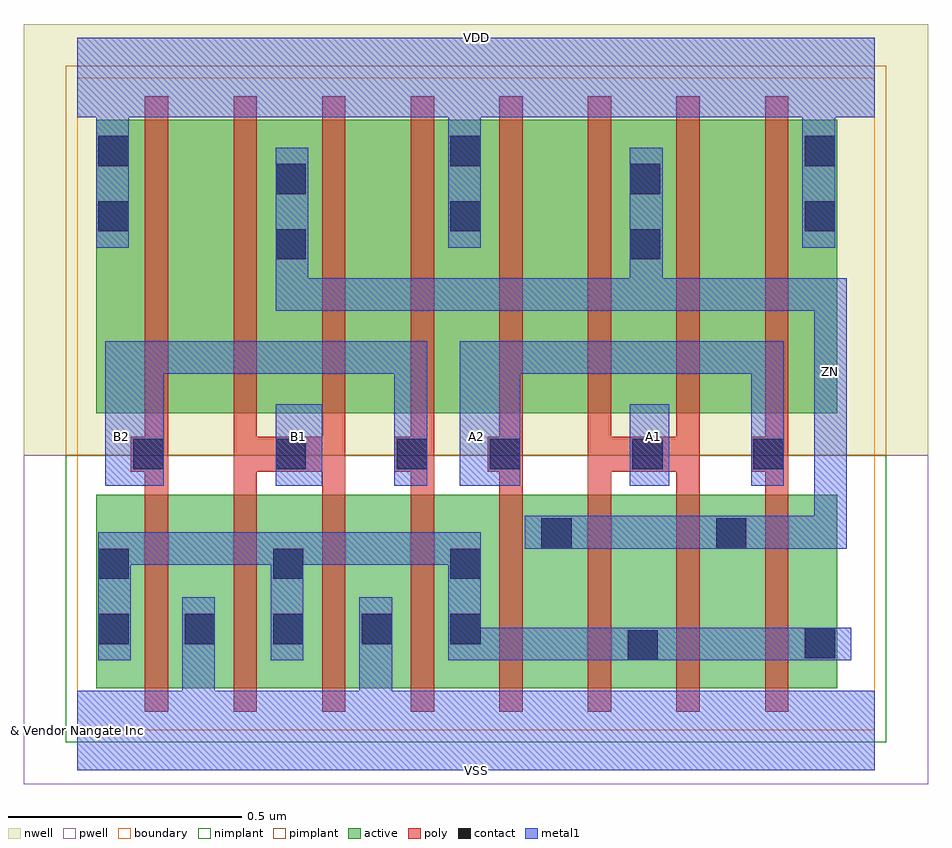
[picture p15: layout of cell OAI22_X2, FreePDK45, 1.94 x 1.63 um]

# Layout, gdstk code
import gdstk
lib = gdstk.Library(unit=1e-6, precision=1e-10)
def R(c, l, rs):  # rectangles x0, y0, x1, y1
    for r in rs: c.add(gdstk.rectangle(r[:2], r[2:], *l))
def A(c, l, x, y, w, h, nx, ny, dx, dy):  # array of equal rectangles
    R(c, l, [(x+i*dx, y+j*dy, x+i*dx+w, y+j*dy+h) for i in range(nx) for j in range(ny)])
def P(c, l, *ps):  # polygons
    for p in ps: c.add(gdstk.Polygon(p, *l))
active = (1, 0)
pwell = (2, 0)
nwell = (3, 0)
nimplant = (4, 0)
pimplant = (5, 0)
poly = (9, 0)
contact = (10, 0)
metal1 = (11, 0)
boundary = (235, 0)

oai22_x2 = lib.new_cell('OAI22_X2')
R(oai22_x2, active, [(0.04,0.09,1.63,0.505), (0.04,0.68,1.63,1.31)])
R(oai22_x2, pwell, [(-0.115,-0.115,1.825,0.59)])
R(oai22_x2, nwell, [(-0.115,0.59,1.825,1.515)])
R(oai22_x2, nimplant, [(-0.025,-0.025,1.735,0.59)])
R(oai22_x2, pimplant, [(-0.025,0.59,1.735,1.425)])
P(oai22_x2, poly, [(0.145,0.04),(0.145,0.555),(0.115,0.555),(0.115,0.63),(0.145,0.63),(0.145,1.36),(0.195,1.36),(0.195,0.04)],
  [(0.335,0.04),(0.335,1.36),(0.385,1.36),(0.385,0.63),(0.525,0.63),(0.525,1.36),(0.575,1.36),(0.575,0.04),(0.525,0.04),(0.525,0.555),(0.385,0.555),(0.385,0.04)],
  [(0.715,0.04),(0.715,0.555),(0.68,0.555),(0.68,0.63),(0.715,0.63),(0.715,1.36),(0.765,1.36),(0.765,0.04)],
  [(0.905,0.04),(0.905,0.555),(0.88,0.555),(0.88,0.63),(0.905,0.63),(0.905,1.36),(0.955,1.36),(0.955,0.04)],
  [(1.095,0.04),(1.095,1.36),(1.145,1.36),(1.145,0.63),(1.285,0.63),(1.285,1.36),(1.335,1.36),(1.335,0.04),(1.285,0.04),(1.285,0.555),(1.145,0.555),(1.145,0.04)],
  [(1.475,0.04),(1.475,0.555),(1.445,0.555),(1.445,0.63),(1.475,0.63),(1.475,1.36),(1.525,1.36),(1.525,0.04)])
A(oai22_x2, contact, 0.23, 0.185, 0.065, 0.065, 4, 1, 0.19, 0)
R(oai22_x2, contact, [(1.18,0.15,1.245,0.215), (1.56,0.155,1.625,0.22), (0.045,0.185,0.11,0.25), (0.045,0.325,0.11,0.39), (0.42,0.325,0.485,0.39), (0.8,0.325,0.865,0.39), (0.995,0.39,1.06,0.455), (1.37,0.39,1.435,0.455), (0.12,0.56,0.185,0.625), (0.425,0.56,0.49,0.625), (0.685,0.56,0.75,0.625), (0.885,0.56,0.95,0.625), (1.19,0.56,1.255,0.625), (1.45,0.56,1.515,0.625), (0.425,1.01,0.49,1.075), (1.185,1.01,1.25,1.075), (0.045,1.07,0.11,1.135), (0.8,1.07,0.865,1.135), (1.56,1.07,1.625,1.135), (0.425,1.15,0.49,1.215), (1.185,1.15,1.25,1.215), (0.045,1.21,0.11,1.275), (0.8,1.21,0.865,1.275), (1.56,1.21,1.625,1.275)])
R(oai22_x2, metal1, [(0.425,0.525,0.525,0.7), (1.185,0.525,1.27,0.7)])
P(oai22_x2, metal1, [(0.06,0.525),(0.06,0.835),(0.75,0.835),(0.75,0.525),(0.68,0.525),(0.68,0.765),(0.185,0.765),(0.185,0.525)],
  [(0.82,0.525),(0.82,0.835),(1.515,0.835),(1.515,0.525),(1.445,0.525),(1.445,0.765),(0.95,0.765),(0.95,0.525)],
  [(0.96,0.39),(0.96,0.46),(1.58,0.46),(1.58,0.9),(0.425,0.9),(0.425,1.25),(0.495,1.25),(0.495,0.97),(1.185,0.97),(1.185,1.25),(1.255,1.25),(1.255,0.97),(1.65,0.97),(1.65,0.39)],
  [(0.045,0.15),(0.045,0.425),(0.865,0.425),(0.865,0.22),(1.66,0.22),(1.66,0.15),(0.795,0.15),(0.795,0.355),(0.485,0.355),(0.485,0.15),(0.415,0.15),(0.415,0.355),(0.115,0.355),(0.115,0.15)],
  [(0,-0.085),(0,0.085),(0.225,0.085),(0.225,0.285),(0.295,0.285),(0.295,0.085),(0.605,0.085),(0.605,0.285),(0.675,0.285),(0.675,0.085),(1.71,0.085),(1.71,-0.085)],
  [(0.04,1.035),(0.04,1.315),(0,1.315),(0,1.485),(1.71,1.485),(1.71,1.315),(1.625,1.315),(1.625,1.035),(1.555,1.035),(1.555,1.315),(0.865,1.315),(0.865,1.035),(0.795,1.035),(0.795,1.315),(0.11,1.315),(0.11,1.035)])
R(oai22_x2, boundary, [(0,0,1.71,1.4)])
oai22_x2.add(gdstk.Label('A1', (1.235,0.63), layer=11, texttype=0))
oai22_x2.add(gdstk.Label('A2', (0.855,0.63), layer=11, texttype=0))
oai22_x2.add(gdstk.Label('B1', (0.475,0.63), layer=11, texttype=0))
oai22_x2.add(gdstk.Label('B2', (0.095,0.63), layer=11, texttype=0))
oai22_x2.add(gdstk.Label('VDD', (0.855,1.485), layer=11, texttype=0))
oai22_x2.add(gdstk.Label('VSS', (0.855,-0.085), layer=11, texttype=0))
oai22_x2.add(gdstk.Label('ZN', (1.615,0.77), layer=11, texttype=0))
oai22_x2.add(gdstk.Label('& Vendor Nangate Inc', (0,0), layer=63, texttype=63))
oai22_x2.add(gdstk.Label('& Product Open Cell Library', (0,0), layer=63, texttype=63))
oai22_x2.add(gdstk.Label('& Version 2010_12', (0,0), layer=63, texttype=63))
oai22_x2.add(gdstk.Label('& Instance OAI22_X2', (0,0), layer=63, texttype=63))

lib.write_gds('OAI22_X2.gds')
